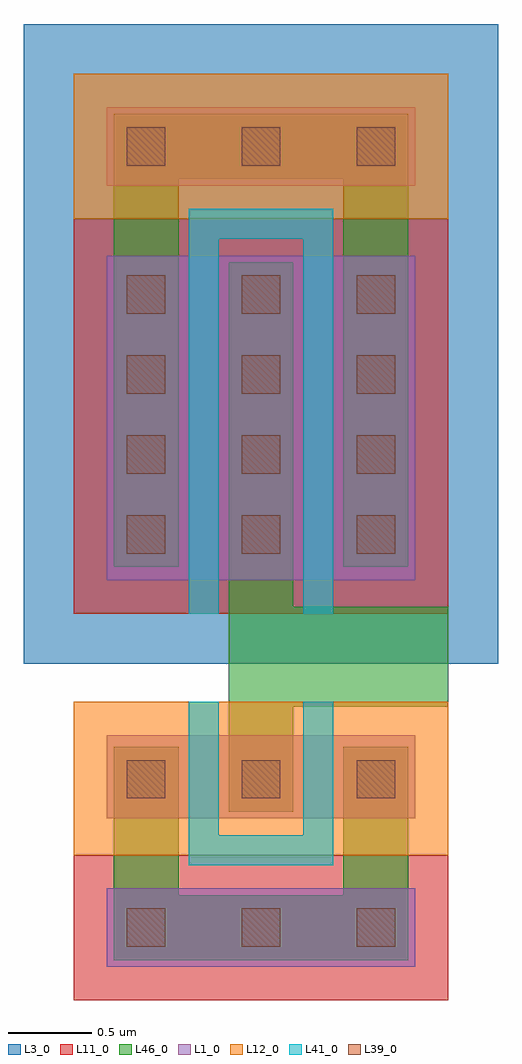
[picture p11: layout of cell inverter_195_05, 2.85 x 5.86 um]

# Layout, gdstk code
import gdstk
lib = gdstk.Library(unit=1e-6, precision=1e-09)
def R(c, l, rs):  # rectangles x0, y0, x1, y1
    for r in rs: c.add(gdstk.rectangle(r[:2], r[2:], *l))
def A(c, l, x, y, w, h, nx, ny, dx, dy):  # array of equal rectangles
    R(c, l, [(x+i*dx, y+j*dy, x+i*dx+w, y+j*dy+h) for i in range(nx) for j in range(ny)])
L1_0 = (1, 0)
L3_0 = (3, 0)
L11_0 = (11, 0)
L12_0 = (12, 0)
L39_0 = (39, 0)
L41_0 = (41, 0)
L46_0 = (46, 0)

inverter_195_05 = lib.new_cell('inverter_195_05')
R(inverter_195_05, L1_0, [(-5.715,4.025,-3.865,4.495), (-5.715,4.915,-3.865,5.415), (-5.715,6.345,-3.865,8.295), (-5.715,8.715,-3.865,9.185)])
R(inverter_195_05, L3_0, [(-6.215,5.845,-3.365,9.685)])
R(inverter_195_05, L11_0, [(-5.915,3.825,-3.665,4.695), (-5.915,6.145,-3.665,8.515)])
R(inverter_195_05, L12_0, [(-5.915,4.695,-3.665,5.615), (-5.915,8.515,-3.665,9.385)])
A(inverter_195_05, L39_0, -5.595, 4.145, 0.23, 0.23, 3, 2, 0.69, 0.89)
A(inverter_195_05, L39_0, -5.595, 6.505, 0.23, 0.23, 3, 4, 0.69, 0.48)
A(inverter_195_05, L39_0, -5.595, 8.835, 0.23, 0.23, 3, 1, 0.69, 0)
R(inverter_195_05, L41_0, [(-5.225,4.635,-4.355,4.815), (-5.225,4.635,-5.045,5.615), (-4.535,4.635,-4.355,5.615), (-5.225,6.145,-5.045,8.575), (-4.535,6.145,-4.355,8.575), (-5.225,8.395,-4.355,8.575)])
R(inverter_195_05, L46_0, [(-5.675,4.065,-5.285,5.345), (-5.675,4.065,-3.905,4.455), (-4.295,4.065,-3.905,5.345), (-4.985,4.955,-4.595,8.255), (-4.985,5.585,-3.665,6.185), (-5.675,6.425,-5.285,9.145), (-4.295,6.425,-3.905,9.145), (-5.675,8.755,-3.905,9.145)])

lib.write_gds('inverter_195_05.gds')
